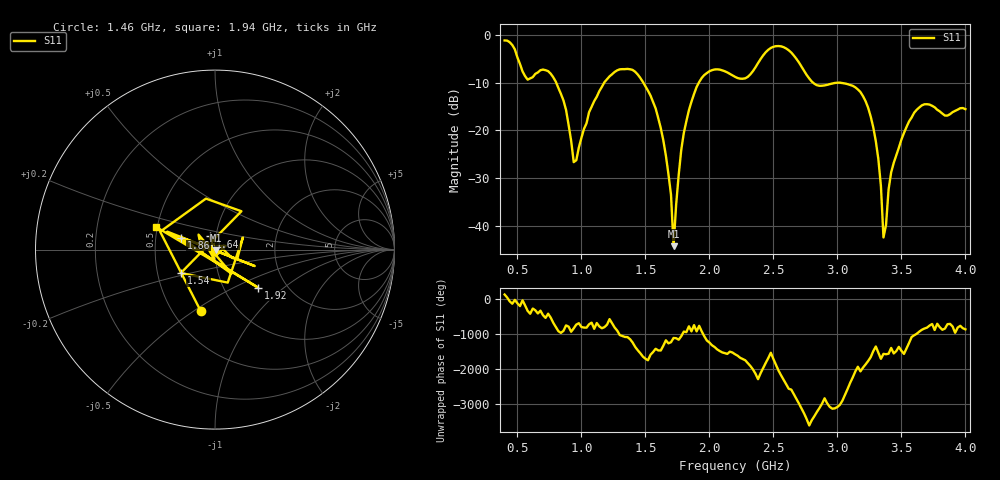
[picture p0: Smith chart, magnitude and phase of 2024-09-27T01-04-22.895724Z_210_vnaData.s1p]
!Created with skrf (http://scikit-rf.org).
# Hz S RI R 50.0
!freq ReS11 ImS11
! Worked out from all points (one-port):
!   181 points, 400 MHz to 4 GHz, reference 50 ohm
!   lowest |S11| = -44.3 dB at 1.72 GHz (marker M1), VSWR 1.01, Z = 50.5 - j0.293 ohm
!   |S11| at or under -10 dB: 802.6 MHz to 1.179 GHz (376 MHz wide, 38 % of centre); 1.483 GHz to 1.918 GHz (435.2 MHz wide, 25.6 % of centre); 2.809 GHz to end of sweep
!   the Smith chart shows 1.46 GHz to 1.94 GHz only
!   S11 on the Smith chart (normalised r, x): 1.46 GHz: 0.68, -0.54; 1.54 GHz: 0.66, -0.18; 1.64 GHz: 0.94, +0.14; 1.86 GHz: 0.68, +0.09; 1.92 GHz: 1.44, -0.68; 1.94 GHz: 0.49, +0.14
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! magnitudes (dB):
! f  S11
! 400 MHz  -1.2
! 580 MHz  -9.4
! 740 MHz  -7.6
! 860 MHz  -13.8
! 940 MHz  -26.7
! 1.1 GHz  -13.9
! 1.3 GHz  -7.2
! 1.46 GHz  -9.0
! 1.54 GHz  -12.7
! 1.64 GHz  -22.1
! 1.7 GHz  -33.5
! 1.72 GHz  -44.3
! 1.76 GHz  -29.4
! 1.86 GHz  -14.0
! 1.92 GHz  -9.9
! 1.94 GHz  -9.0
! 2.2 GHz  -8.8
! 2.5 GHz  -2.5
! 2.66 GHz  -4.4
! 2.84 GHz  -10.6
! 3.1 GHz  -10.5
! 3.28 GHz  -19.4
! 3.34 GHz  -31.7
! 3.36 GHz  -42.5
! 3.42 GHz  -28.9
! 3.56 GHz  -18.2
! 3.68 GHz  -14.6
! 4 GHz  -15.6
